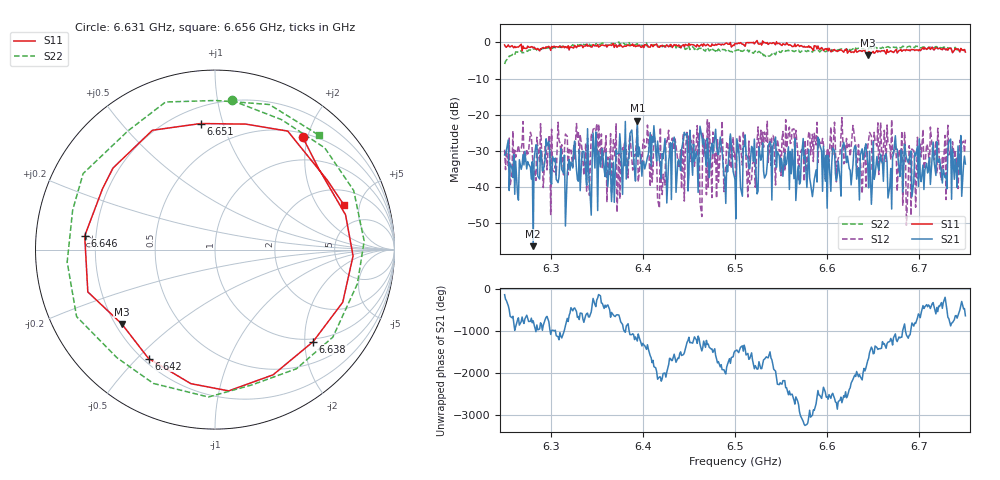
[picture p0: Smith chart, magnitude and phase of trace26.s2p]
# Hz S RI R 50
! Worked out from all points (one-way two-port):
!   401 points, 6.25 GHz to 6.75 GHz, reference 50 ohm
!   highest |S21| = -21.69 dB at 6.394 GHz (marker M1); lowest = -56.4 dB at 6.281 GHz (marker M2)
!   lowest |S11| = -3.6 dB at 6.644 GHz (marker M3), VSWR 4.96, Z = 11.3 - j16.7 ohm
!   |S11| at or under -10 dB: nowhere
!   |S22| runs from -6.0 to 0.1 dB; largest |S21 - S12| = 0.15
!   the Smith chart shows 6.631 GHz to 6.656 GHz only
!   S11 on the Smith chart (normalised r, x): 6.631 GHz: 0.57, +1.92; 6.638 GHz: 0.93, -2.19; 6.642 GHz: 0.22, -0.54; 6.646 GHz: 0.16, +0.05; 6.651 GHz: 0.30, +0.85; 6.656 GHz: 3.01, +3.54
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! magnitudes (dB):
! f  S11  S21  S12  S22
! 6.25 GHz  -0.7  -31.1  -29.7  -6.0
! 6.281 GHz  -1.5  -56.4  -34.8  -1.8
! 6.334 GHz  -0.8  -30.4  -29.7  -0.4
! 6.394 GHz  -0.9  -21.7  -23.4  -0.3
! 6.418 GHz  -1.4  -32.8  -45.9  -1.3
! 6.434 GHz  -0.6  -26.2  -29.8  -1.0
! 6.464 GHz  -0.5  -26.0  -48.2  -1.6
! 6.5 GHz  -0.3  -38.0  -30.4  -2.3
! 6.544 GHz  -0.6  -26.2  -39.5  -3.4
! 6.584 GHz  -1.8  -42.7  -25.4  -2.7
! 6.591 GHz  -1.7  -26.9  -26.9  -2.3
! 6.631 GHz  -2.0  -28.9  -28.4  -1.6
! 6.638 GHz  -2.5  -29.5  -41.8  -1.8
! 6.642 GHz  -3.0  -28.1  -39.9  -1.7
! 6.644 GHz  -3.6  -33.6  -28.8  -1.7
! 6.646 GHz  -2.7  -30.1  -24.9  -1.3
! 6.651 GHz  -3.0  -37.9  -24.9  -1.7
! 6.656 GHz  -2.4  -35.3  -36.6  -1.3
! 6.668 GHz  -2.5  -39.9  -28.4  -1.4
! 6.674 GHz  -2.2  -25.8  -28.7  -1.4
! 6.689 GHz  -2.1  -32.2  -28.6  -1.1
! 6.75 GHz  -2.7  -33.7  -26.9  -2.4
